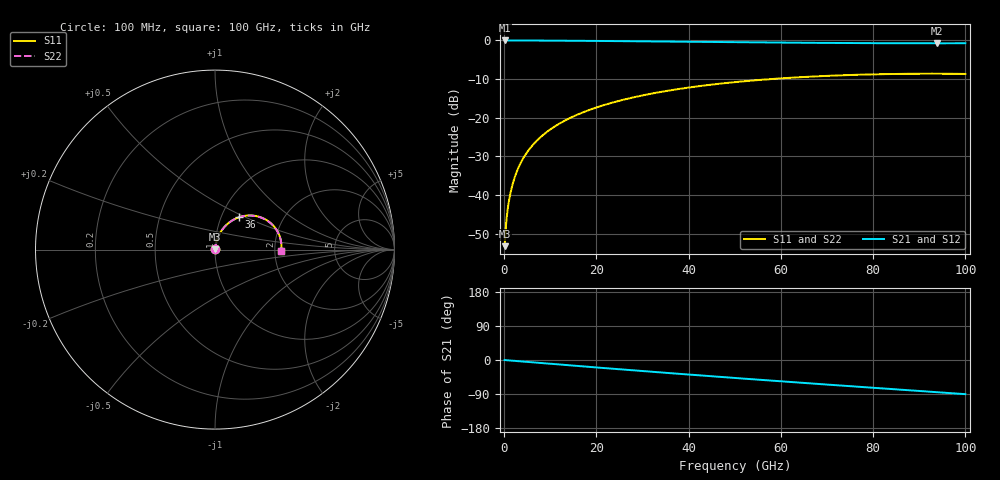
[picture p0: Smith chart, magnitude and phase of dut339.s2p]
! Touchstone file exported from HFSS 2026.1.0
!  File:  C:/ffzhzh/LocalFiles/Ansys_Project_Files/temp_train_RDL_339_1783503016_31944.aedt
!  Generated:  05:31:27 PM Jul  8, 2026
!  Design:  RDL
!  Project:  temp_train_RDL_339_1783503016_31944
! Variables:
!  h_bsmrdl = 2um
!  h_ox = 20um
!  h_rdl = 5um
!  h_sub = 80um
!  h_tmrdl = 2.24um
!  h_tsv = 80um
!  h_via = 3um
!  l_bsmrdl = 300um
!  l_sub = 688.62um
!  l_tmrdl = 288.62um
!  m_sub = 200um
!  pitch = 42.67um
!  r_tsv = 6um
!  s_tmrdl = 10um
!  w_bsmrdl = 18um
!  w_sub = 500um
!  w_tmrdl = 28.71um
!  x_tsv_center1 = 302.975um
!  x_tsv_center2 = 620.975um
!  x_tsv_center3 = 938.305um
!  x_tsv_center4 = 1256.305um
!  x_tsv_center5 = 1573.635um
!  x_tsv_center6 = 1891.635um
# GHz S MA R 50.000000
! Terminal data exported
! Port[1] = TM_RDL1_1_T1
! Port[2] = TM_RDL1_1_T2
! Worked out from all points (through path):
!   1000 points, 100 MHz to 100 GHz, reference 50 ohm
!   highest |S21| = -0.02 dB at 100 MHz (marker M1); lowest = -0.7 dB at 93.8 GHz (marker M2)
!   group delay of S21, straight-line fit = 2.49 ps
!   lowest |S11| = -53.2 dB at 100 MHz (marker M3), VSWR 1.00, Z = 50.2 + j0.09 ohm
!   |S11| at or under -10 dB: start of sweep to 57.93 GHz
!   |S22| runs from -53.2 to -8.6 dB; largest |S21 - S12| = 4.6e-15
!   S11 on the Smith chart (normalised r, x): 100 MHz: 1.00, +0.00; 36 GHz: 1.22, +0.46; 100 GHz: 2.16, -0.03
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0.1  0.002177 24.3  0.998 -0.1  0.998 -0.1  0.002177 24.3
! Gamma 0 0 0 0
! Port Impedance 50 0 50 0
0.4  0.004072 55.0  0.9977 -0.4  0.9977 -0.4  0.004072 55.0
0.8  0.006756 66.1  0.9973 -0.8  0.9973 -0.8  0.006756 66.1
1  0.00809 69.2  0.9972 -1.0  0.9972 -1.0  0.00809 69.2
1.3  0.01011 72.4  0.9971 -1.3  0.9971 -1.3  0.01011 72.4
1.7  0.01285 75.1  0.997 -1.7  0.997 -1.7  0.01285 75.1
2.3  0.017 77.4  0.9968 -2.3  0.9968 -2.3  0.017 77.4
2.9  0.02119 78.6  0.9967 -2.9  0.9967 -2.9  0.02119 78.6
3.6  0.02609 79.3  0.9964 -3.6  0.9964 -3.6  0.02609 79.3
4.4  0.03169 79.5  0.9962 -4.4  0.9962 -4.4  0.03169 79.5
6.6  0.04706 78.9  0.9952 -6.6  0.9952 -6.6  0.04706 78.9
9.3  0.06569 77.1  0.9936 -9.3  0.9936 -9.3  0.06569 77.0
12.7  0.08861 74.2  0.991 -12.6  0.991 -12.6  0.08862 74.1
16.8  0.1154 70.5  0.9874 -16.6  0.9874 -16.6  0.1154 70.4
24.2  0.161 63.8  0.9796 -23.7  0.9796 -23.7  0.161 63.7
33.4  0.2125 55.5  0.9686 -32.3  0.9686 -32.3  0.2125 55.4
36  0.2259 53.2  0.9654 -34.7  0.9654 -34.7  0.2259 53.0
50.1  0.2888 40.8  0.9476 -47.5  0.9476 -47.5  0.2888 40.6
66.7  0.3404 26.7  0.9298 -62.0  0.9298 -62.0  0.3404 26.4
83.4  0.3669 12.8  0.9193 -76.2  0.9193 -76.2  0.367 12.4
93.8  0.3706 4.3  0.9174 -84.9  0.9174 -84.9  0.3707 3.8
100  0.3681 -0.8  0.9181 -90.2  0.9181 -90.2  0.3682 -1.4
